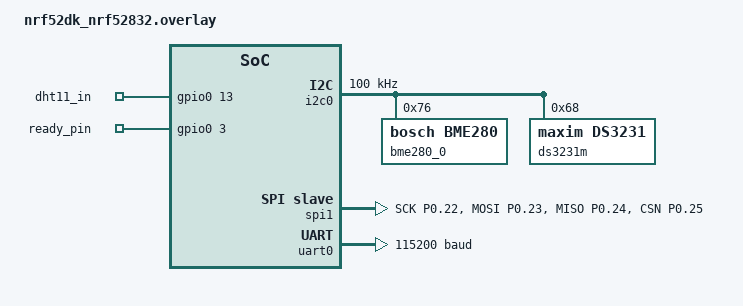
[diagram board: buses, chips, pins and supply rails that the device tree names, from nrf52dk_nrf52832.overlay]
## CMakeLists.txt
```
cmake_minimum_required(VERSION 3.20.0)
find_package(Zephyr REQUIRED HINTS $ENV{ZEPHYR_BASE})
project(isilva_prvproject)

target_sources(app PRIVATE
  src/main.c
  sensores/dht11_sensor.c
  sensores/bme280_sensor.c
  sensores/rtc_ds3231m.c
  sensores/sensor_data.c
  ble/ble_manager.c
  ble/bme280_service.c
  #wifi/spi_manager.c
  wifi/uart_manager.c
)

# Inclui diretório 'sensores' para headers personalizados
zephyr_include_directories(sensores)
zephyr_include_directories(ble)
zephyr_include_directories(wifi)
```

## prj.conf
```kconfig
########################################
# General project configuration
########################################

CONFIG_LOG=y
CONFIG_LOG_MODE_IMMEDIATE=y
CONFIG_LOG_BACKEND_RTT=y

# Enable RTT logging
CONFIG_USE_SEGGER_RTT=y

# Disable UART console backend (so uart0 is usable)
#CONFIG_CONSOLE=y
#CONFIG_UART_CONSOLE=n

# Keep shell disabled or routed to RTT if using shell
#CONFIG_SHELL=y
#CONFIG_SHELL_BACKENDS=y
#CONFIG_SHELL_BACKEND_RTT=n

# Reduce log default level if you want less chatter
CONFIG_LOG_DEFAULT_LEVEL=3

# Float formatting nos logs
CONFIG_NEWLIB_LIBC=y
CONFIG_NEWLIB_LIBC_FLOAT_PRINTF=y
CONFIG_CBPRINTF_FP_SUPPORT=y
CONFIG_ENTROPY_GENERATOR=y
# CONFIG_RANDOM_GENERATOR=y

# Increase main stack size if needed
CONFIG_MAIN_STACK_SIZE=2048
# Enable multithreading
CONFIG_MULTITHREADING=y
# Enable deferred logging to avoid blocking in interrupts
CONFIG_LOG_MODE_DEFERRED=y

# Enable UART driver
# CONFIG_UART_CONSOLE=n        # Keep RTT as console
CONFIG_UART_INTERRUPT_DRIVEN=y
CONFIG_SERIAL=y               # Enable Zephyr serial driver
#CONFIG_UART_ASYNC_API=y
# CONFIG_UART_LINE_CTRL=y       # Optional, if you need line control

# Optional: enable UART for logging (but we keep RTT)
CONFIG_LOG_BACKEND_UART=n

########################################
# Sensor and communication protocols
########################################

# Sensors and pins
CONFIG_GPIO=y
CONFIG_NFCT_PINS_AS_GPIOS=y

# Enable sensor support
CONFIG_SENSOR=y
CONFIG_BME280=y

# Enable I2C support
CONFIG_I2C=y
CONFIG_I2C_INIT_PRIORITY=60

# Enable SPI slave support
CONFIG_SPI=y
#CONFIG_SPIS=y
CONFIG_SPI_SLAVE=y

######################################
# Bluetooth configuration
######################################

# Enable Bluetooth and peripheral role
CONFIG_BT=y
CONFIG_BT_PERIPHERAL=y

# Enable GATT client support 
CONFIG_BT_GATT_CLIENT=y

CONFIG_BT_DEVICE_NAME_DYNAMIC=y
CONFIG_BT_DEVICE_NAME="nRF52 isilva"
#máximo 248 caracteres, mas o ideal é manter <20 menos espaço no pacote de adv
CONFIG_BT_DEVICE_NAME_MAX=20 
#CONFIG_BT_DEVICE_APPEARANCE=0
# Generic Environmental Sensor
CONFIG_BT_DEVICE_APPEARANCE=1344
# CONFIG_BT_DIS=y
# Advertising
CONFIG_BT_EXT_ADV=n
CONFIG_BT_KEYS_OVERWRITE_OLDEST=y
CONFIG_BT_SETTINGS=y

CONFIG_BT_DIS=y
CONFIG_BT_DIS_PNP=y
CONFIG_BT_DIS_MODEL="Zephyr nRF52"
CONFIG_BT_DIS_MANUF="isilva"
CONFIG_BT_DIS_SERIAL_NUMBER=y
CONFIG_BT_DIS_SERIAL_NUMBER_STR="MY TEST PROJECT"
CONFIG_BT_DIS_FW_REV_STR="v1.0.0"

# BLE security
# CONFIG_BT_SMP=y
# CONFIG_BT_SIGNING=y
# CONFIG_BT_PRIVACY=y
# CONFIG_BT_SECURITY=y

#
# Author: IlidioMSilva
# Project: Sensor integration with Zephyr
# Note: Educational/portfolio example
#
```

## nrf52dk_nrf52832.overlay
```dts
/ {
    aliases {
        dht11int = &dht11_in;
        bme280 = &bme280_0;
        rtc = &ds3231m;
        spi-slave = &spi1;
        rdy-pin = &ready_pin;
        myuart = &uart0; /* for NodeMCU communication */
    };

    dht11_keys: dht11_keys {
        compatible = "gpio-keys";
        dht11_in: dht11_in {
            gpios = <&gpio0 13 GPIO_ACTIVE_HIGH>;
        };
    };

    ready_keys: ready_keys {
        compatible = "gpio-keys";
        ready_pin: ready_pin {
            gpios = <&gpio0 3 GPIO_ACTIVE_HIGH>;
        };
    };
};

/* I2C0 for BME280 and RTC */
&i2c0 {
    compatible = "nordic,nrf-twi";
    status = "okay";
    clock-frequency = <I2C_BITRATE_STANDARD>;

    bme280_0: bme280@76 {
        compatible = "bosch,bme280";
        reg = <0x76>;
        status = "okay";
    };

    ds3231m: rtc@68 {
        compatible = "maxim,ds3231";
        reg = <0x68>;
        status = "okay";
    };
};

/* SPI1 configured as SPIS (slave) Just for test */
&spi1 {
    compatible = "nordic,nrf-spis";
    status = "okay";
    pinctrl-0 = <&spi1_slave_default>;
    pinctrl-names = "default", "sleep";
    def-char = <0xFF>;
    max-frequency = <1000000>;
    easydma-maxcnt-bits = <8>;
    cs-gpios = <&gpio0 25 GPIO_ACTIVE_LOW>;
};

/* SPI1 configured as SPIS (slave) Just for test */
&pinctrl {
    spi1_slave_default: spi1_slave_default {
        group1 {
            psels = <
                NRF_PSEL(SPIS_SCK, 0, 22)
                NRF_PSEL(SPIS_MOSI, 0, 23)
                NRF_PSEL(SPIS_MISO, 0, 24)
                NRF_PSEL(SPIS_CSN, 0, 25)
            >;
        };
    };
};

/* UART0 Setup for NodeMCU (logs moved to RTT) */
&uart0 {
    status = "okay";
    current-speed = <115200>;
    pinctrl-0 = <&uart0_default>;
    pinctrl-1 = <&uart0_sleep>;
    pinctrl-names = "default", "sleep";
};

/* Disable SPI2 so its pins are free if needed */
&spi2 {
    status = "disabled";
};
```

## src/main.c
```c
/*
 * Author: IlidioMSilva
 * Project: Sensor integration with Zephyr
 * Note: Educational/portfolio example
 */

#include <zephyr/kernel.h>
#include <zephyr/logging/log.h>

#include "sensor_data.h"
#include "ble_manager.h"
#include "uart_manager.h"

LOG_MODULE_REGISTER(main, LOG_LEVEL_INF);

int main(void)
{
     LOG_INF("System started");

    if (sensors_init() != 0) {
        LOG_ERR("Error initializaing sensors!");
    } else {
        LOG_INF("Sensors initialized!");
    }

    // Initialize UART manager for communication with ESP32/NodeMCU
    uart_manager_init();

    // Initialize Bluetooth and BLE services
    ble_manager_init();
   
    // Main loop: sleep forever, all work handled by BLE and timer
    while (1) {
        k_sleep(K_FOREVER);
    }

    return 0;
}
```
